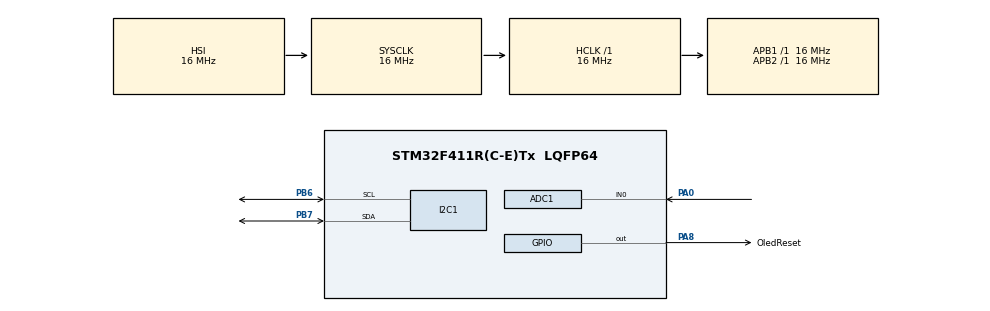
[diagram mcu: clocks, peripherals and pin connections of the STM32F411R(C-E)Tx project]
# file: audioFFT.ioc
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ADC1.Channel-0\#ChannelRegularConversion=ADC_CHANNEL_0
ADC1.ContinuousConvMode=ENABLE
ADC1.DMAContinuousRequests=ENABLE
ADC1.ExternalTrigConv=ADC_EXTERNALTRIGCONV_T3_TRGO
ADC1.NbrOfConversionFlag=1
ADC1.Rank-0\#ChannelRegularConversion=1
ADC1.SamplingTime-0\#ChannelRegularConversion=ADC_SAMPLETIME_3CYCLES
ADC1.master=1
Dma.ADC1.0.Direction=DMA_PERIPH_TO_MEMORY
Dma.ADC1.0.FIFOMode=DMA_FIFOMODE_DISABLE
Dma.ADC1.0.Instance=DMA2_Stream0
Dma.ADC1.0.MemDataAlignment=DMA_MDATAALIGN_HALFWORD
Dma.ADC1.0.MemInc=DMA_MINC_ENABLE
Dma.ADC1.0.Mode=DMA_CIRCULAR
Dma.ADC1.0.PeriphDataAlignment=DMA_PDATAALIGN_HALFWORD
Dma.ADC1.0.PeriphInc=DMA_PINC_DISABLE
Dma.ADC1.0.Priority=DMA_PRIORITY_LOW
Dma.Request0=ADC1
I2C1.I2C_Mode=I2C_Fast
Mcu.Family=STM32F4
Mcu.Name=STM32F411R(C-E)Tx
Mcu.Package=LQFP64
NVIC.DMA2_Stream0_IRQn=true\:0\:0\:false\:false\:true\:false\:true\:true
NVIC.PriorityGroup=NVIC_PRIORITYGROUP_4
NVIC.TIM3_IRQn=true\:0\:0\:false\:false\:true\:true\:true\:true
PA0-WKUP.Signal=ADCx_IN0
PA8.GPIO_Label=OledReset
PA8.Signal=GPIO_Output
PB6.GPIO_Pu=GPIO_PULLUP
PB6.Mode=I2C
PB6.Signal=I2C1_SCL
PB7.GPIO_Pu=GPIO_PULLUP
PB7.Mode=I2C
PB7.Signal=I2C1_SDA
ProjectManager.HeapSize=0x200
ProjectManager.StackSize=0x400
ProjectManager.TargetToolchain=STM32CubeIDE
RCC.AHBFreq_Value=16000000
RCC.APB1Freq_Value=16000000
RCC.APB2Freq_Value=16000000
RCC.CortexFreq_Value=16000000
RCC.HSE_VALUE=25000000
RCC.HSI_VALUE=16000000
RCC.LSE_VALUE=32768
RCC.SYSCLKFreq_VALUE=16000000
RCC.VCOOutputFreq_Value=192000000
SH.ADCx_IN0.0=ADC1_IN0,IN0
TIM3.Period=25-1
TIM3.Prescaler=100-1
TIM3.TIM_MasterOutputTrigger=TIM_TRGO_UPDATE
VP_TIM3_VS_ClockSourceINT.Mode=Internal
board=custom

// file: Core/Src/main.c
/* USER CODE BEGIN Header */
/**
  ******************************************************************************
  * @file           : main.c
  * @brief          : Main program body
  ******************************************************************************
  * @attention
  *
  * Copyright (c) 2024 STMicroelectronics.
  * All rights reserved.
  *
  * This software is licensed under terms that can be found in the LICENSE file
  * in the root directory of this software component.
  * If no LICENSE file comes with this software, it is provided AS-IS.
  *
  ******************************************************************************
  */
/* USER CODE END Header */
#include "main.h"

/* USER CODE BEGIN Includes */
#include "arm_math.h"
#include "ssd1306.h"
/* USER CODE END Includes */

ADC_HandleTypeDef hadc1;
DMA_HandleTypeDef hdma_adc1;

I2C_HandleTypeDef hi2c1;

TIM_HandleTypeDef htim3;

void SystemClock_Config(void);
static void MX_GPIO_Init(void);
static void MX_DMA_Init(void);
static void MX_ADC1_Init(void);
static void MX_I2C1_Init(void);
static void MX_TIM3_Init(void);

/* USER CODE BEGIN 0 */
#define SamplesFFT 2048
uint16_t adcValue[SamplesFFT];
float32_t input[SamplesFFT];
float32_t output[SamplesFFT];
uint32_t doConvert = SamplesFFT;
void HAL_TIM_PeriodElapsedCallback(TIM_HandleTypeDef *htim){
	if(doConvert > 0) doConvert--;
}
/* USER CODE END 0 */

int main(void)
{

  /* MCU Configuration--------------------------------------------------------*/

  /* Reset of all peripherals, Initializes the Flash interface and the Systick. */
  HAL_Init();

  /* Configure the system clock */
  SystemClock_Config();

  /* Initialize all configured peripherals */
  MX_GPIO_Init();
  MX_DMA_Init();
  MX_ADC1_Init();
  MX_I2C1_Init();
  MX_TIM3_Init();
  /* USER CODE BEGIN 2 */
  arm_rfft_fast_instance_f32 fftInstance;
  HAL_ADC_Start_DMA(&hadc1, adcValue, 2048);
  HAL_TIM_Base_Start_IT(&htim3);
  ssd1306_Init();
//  float32_t FFT_Input_Q15_f[50];
//  float32_t aFFT_Input_Q15[50];
//	#define FFT_Length 1024
//  arm_float_to_q15((float32_t *)&FFT_Input_Q15_f[0], (q15_t *)&aFFT_Input_Q15[0], FFT_Length*2);
  /* USER CODE END 2 */

  /* Infinite loop */
  /* USER CODE BEGIN WHILE */
  while (1)
  {
  	//2048개의 ADC가 완료되면
  	if(doConvert == 0){
  		//FFT준비
  		for(int i=0; i<SamplesFFT; i+=2){
  			input[i] = (float32_t)adcValue[i/2];
  			input[i+1]=0;
  		}

  		arm_rfft_fast_init_f32(&fftInstance, SamplesFFT);
  		arm_rfft_fast_f32(&fftInstance, input, output, 0);
  		//출력 결과를 128개로 분할
  		uint32_t showData[128]={0, };
  		for(int i=0; i<128; i++){
  			for(int j=0; j<8; j++){
  				showData[i]+=output[i*8+j];
  			}
  			showData[i]/=32;
  		}
  		//OLED표시
  		ssd1306_Fill(0);
  		for(int i=2; i<128; i++){
  			ssd1306_Line(i, 63, i, 64-showData[i],1);
  		}
  		ssd1306_UpdateScreen();
  	}
    /* USER CODE END WHILE */

  }
}

void SystemClock_Config(void)
{
  RCC_OscInitTypeDef RCC_OscInitStruct = {0};
  RCC_ClkInitTypeDef RCC_ClkInitStruct = {0};

  /** Configure the main internal regulator output voltage
  */
  __HAL_RCC_PWR_CLK_ENABLE();
  __HAL_PWR_VOLTAGESCALING_CONFIG(PWR_REGULATOR_VOLTAGE_SCALE1);

  /** Initializes the RCC Oscillators according to the specified parameters
  * in the RCC_OscInitTypeDef structure.
  */
  RCC_OscInitStruct.OscillatorType = RCC_OSCILLATORTYPE_HSI;
  RCC_OscInitStruct.HSIState = RCC_HSI_ON;
  RCC_OscInitStruct.HSICalibrationValue = RCC_HSICALIBRATION_DEFAULT;
  RCC_OscInitStruct.PLL.PLLState = RCC_PLL_NONE;
  if (HAL_RCC_OscConfig(&RCC_OscInitStruct) != HAL_OK)
  {
    Error_Handler();
  }

  /** Initializes the CPU, AHB and APB buses clocks
  */
  RCC_ClkInitStruct.ClockType = RCC_CLOCKTYPE_HCLK|RCC_CLOCKTYPE_SYSCLK
                              |RCC_CLOCKTYPE_PCLK1|RCC_CLOCKTYPE_PCLK2;
  RCC_ClkInitStruct.SYSCLKSource = RCC_SYSCLKSOURCE_HSI;
  RCC_ClkInitStruct.AHBCLKDivider = RCC_SYSCLK_DIV1;
  RCC_ClkInitStruct.APB1CLKDivider = RCC_HCLK_DIV1;
  RCC_ClkInitStruct.APB2CLKDivider = RCC_HCLK_DIV1;

  if (HAL_RCC_ClockConfig(&RCC_ClkInitStruct, FLASH_LATENCY_0) != HAL_OK)
  {
    Error_Handler();
  }
}

static void MX_ADC1_Init(void)
{

  ADC_ChannelConfTypeDef sConfig = {0};

  /** Configure the global features of the ADC (Clock, Resolution, Data Alignment and number of conversion)
  */
  hadc1.Instance = ADC1;
  hadc1.Init.ClockPrescaler = ADC_CLOCK_SYNC_PCLK_DIV2;
  hadc1.Init.Resolution = ADC_RESOLUTION_12B;
  hadc1.Init.ScanConvMode = DISABLE;
  hadc1.Init.ContinuousConvMode = ENABLE;
  hadc1.Init.DiscontinuousConvMode = DISABLE;
  hadc1.Init.ExternalTrigConvEdge = ADC_EXTERNALTRIGCONVEDGE_RISING;
  hadc1.Init.ExternalTrigConv = ADC_EXTERNALTRIGCONV_T3_TRGO;
  hadc1.Init.DataAlign = ADC_DATAALIGN_RIGHT;
  hadc1.Init.NbrOfConversion = 1;
  hadc1.Init.DMAContinuousRequests = ENABLE;
  hadc1.Init.EOCSelection = ADC_EOC_SINGLE_CONV;
  if (HAL_ADC_Init(&hadc1) != HAL_OK)
  {
    Error_Handler();
  }

  /** Configure for the selected ADC regular channel its corresponding rank in the sequencer and its sample time.
  */
  sConfig.Channel = ADC_CHANNEL_0;
  sConfig.Rank = 1;
  sConfig.SamplingTime = ADC_SAMPLETIME_3CYCLES;
  if (HAL_ADC_ConfigChannel(&hadc1, &sConfig) != HAL_OK)
  {
    Error_Handler();
  }

}

static void MX_I2C1_Init(void)
{

  hi2c1.Instance = I2C1;
  hi2c1.Init.ClockSpeed = 400000;
  hi2c1.Init.DutyCycle = I2C_DUTYCYCLE_2;
  hi2c1.Init.OwnAddress1 = 0;
  hi2c1.Init.AddressingMode = I2C_ADDRESSINGMODE_7BIT;
  hi2c1.Init.DualAddressMode = I2C_DUALADDRESS_DISABLE;
  hi2c1.Init.OwnAddress2 = 0;
  hi2c1.Init.GeneralCallMode = I2C_GENERALCALL_DISABLE;
  hi2c1.Init.NoStretchMode = I2C_NOSTRETCH_DISABLE;
  if (HAL_I2C_Init(&hi2c1) != HAL_OK)
  {
    Error_Handler();
  }

}

static void MX_TIM3_Init(void)
{

  TIM_ClockConfigTypeDef sClockSourceConfig = {0};
  TIM_MasterConfigTypeDef sMasterConfig = {0};

  htim3.Instance = TIM3;
  htim3.Init.Prescaler = 100-1;
  htim3.Init.CounterMode = TIM_COUNTERMODE_UP;
  htim3.Init.Period = 25-1;
  htim3.Init.ClockDivision = TIM_CLOCKDIVISION_DIV1;
  htim3.Init.AutoReloadPreload = TIM_AUTORELOAD_PRELOAD_DISABLE;
  if (HAL_TIM_Base_Init(&htim3) != HAL_OK)
  {
    Error_Handler();
  }
  sClockSourceConfig.ClockSource = TIM_CLOCKSOURCE_INTERNAL;
  if (HAL_TIM_ConfigClockSource(&htim3, &sClockSourceConfig) != HAL_OK)
  {
    Error_Handler();
  }
  sMasterConfig.MasterOutputTrigger = TIM_TRGO_UPDATE;
  sMasterConfig.MasterSlaveMode = TIM_MASTERSLAVEMODE_DISABLE;
  if (HAL_TIMEx_MasterConfigSynchronization(&htim3, &sMasterConfig) != HAL_OK)
  {
    Error_Handler();
  }

}

static void MX_DMA_Init(void)
{

  /* DMA controller clock enable */
  __HAL_RCC_DMA2_CLK_ENABLE();

  /* DMA interrupt init */
  /* DMA2_Stream0_IRQn interrupt configuration */
  HAL_NVIC_SetPriority(DMA2_Stream0_IRQn, 0, 0);
  HAL_NVIC_EnableIRQ(DMA2_Stream0_IRQn);

}

static void MX_GPIO_Init(void)
{
  GPIO_InitTypeDef GPIO_InitStruct = {0};

  /* GPIO Ports Clock Enable */
  __HAL_RCC_GPIOA_CLK_ENABLE();
  __HAL_RCC_GPIOB_CLK_ENABLE();

  /*Configure GPIO pin Output Level */
  HAL_GPIO_WritePin(OledReset_GPIO_Port, OledReset_Pin, GPIO_PIN_RESET);

  /*Configure GPIO pin : OledReset_Pin */
  GPIO_InitStruct.Pin = OledReset_Pin;
  GPIO_InitStruct.Mode = GPIO_MODE_OUTPUT_PP;
  GPIO_InitStruct.Pull = GPIO_NOPULL;
  GPIO_InitStruct.Speed = GPIO_SPEED_FREQ_LOW;
  HAL_GPIO_Init(OledReset_GPIO_Port, &GPIO_InitStruct);

}

void Error_Handler(void)
{
  __disable_irq();
  while (1)
  {
  }
}
